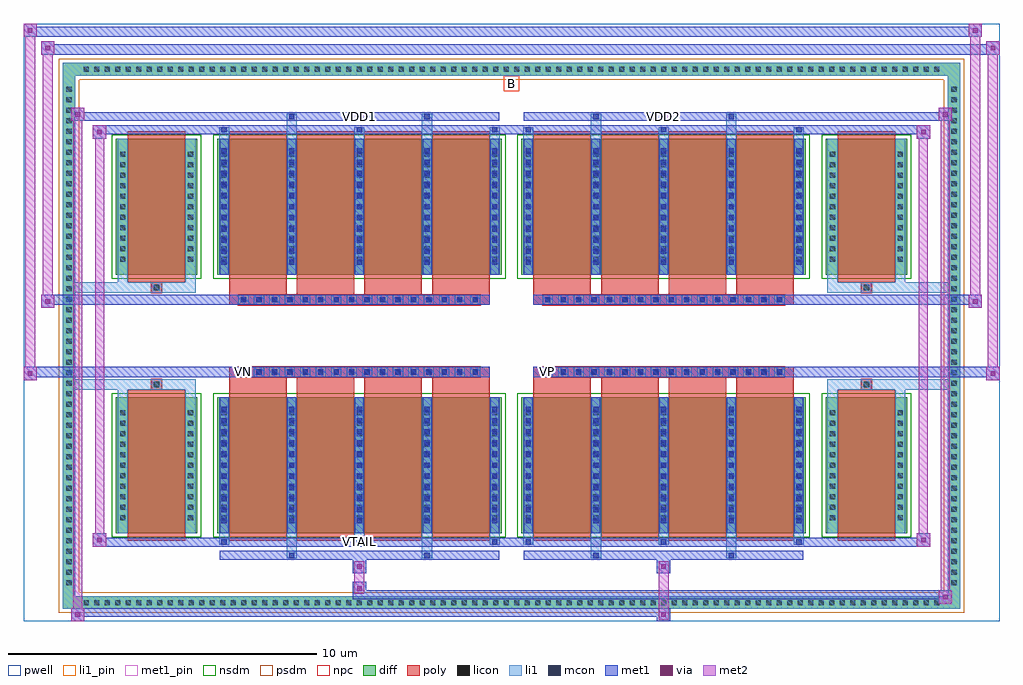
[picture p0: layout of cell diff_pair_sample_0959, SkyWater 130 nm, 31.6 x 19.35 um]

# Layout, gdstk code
import gdstk
lib = gdstk.Library(unit=1e-6, precision=5e-09)
def R(c, l, rs):  # rectangles x0, y0, x1, y1
    for r in rs: c.add(gdstk.rectangle(r[:2], r[2:], *l))
def A(c, l, x, y, w, h, nx, ny, dx, dy):  # array of equal rectangles
    R(c, l, [(x+i*dx, y+j*dy, x+i*dx+w, y+j*dy+h) for i in range(nx) for j in range(ny)])
def P(c, l, *ps):  # polygons
    for p in ps: c.add(gdstk.Polygon(p, *l))
pwell = (64, 44)
diff = (65, 20)
poly = (66, 20)
licon = (66, 44)
li1_pin = (67, 16)
li1 = (67, 20)
mcon = (67, 44)
met1_pin = (68, 16)
met1 = (68, 20)
via = (68, 44)
met2 = (69, 20)
nsdm = (93, 44)
psdm = (94, 20)
npc = (95, 20)

diff_pair_sample_0959 = lib.new_cell('diff_pair_sample_0959')
R(diff_pair_sample_0959, pwell, [(-15.8,-9.24,15.8,10.11), (-13.12,-7.43,-0.01,-0.805), (0.01,-7.43,13.12,-0.805), (-13.12,0.805,-0.01,7.43), (0.01,0.805,13.12,7.43)])
A(diff_pair_sample_0959, diff, -13.975, -8.84, 0.41, 0.41, 82, 2, 0.34, 17.27)
A(diff_pair_sample_0959, diff, -14.53, -8.195, 0.41, 0.41, 1, 48, 0, 0.34)
A(diff_pair_sample_0959, diff, 14.12, -8.195, 0.41, 0.41, 1, 48, 0, 0.34)
R(diff_pair_sample_0959, diff, [(-13.975,-8.84,13.975,-8.43), (-14.53,-8.195,-14.12,8.195), (14.12,-8.195,14.53,8.195), (-12.81,-6.385,-10.17,-1.985), (-9.53,-6.385,-0.32,-1.985), (0.32,-6.385,9.53,-1.985), (10.17,-6.385,12.81,-1.985), (-12.81,1.985,-10.17,6.385), (-9.53,1.985,-0.32,6.385), (0.32,1.985,9.53,6.385), (10.17,1.985,12.81,6.385), (-13.975,8.43,13.975,8.84)])
P(diff_pair_sample_0959, diff, [(14.53,8.84),(-14.53,8.84),(-14.53,-8.43),(-14.12,-8.43),(-14.12,8.43),(14.12,8.43),(14.12,-8.43),(-14.12,-8.43),(-14.53,-8.43),(-14.53,-8.84),(14.53,-8.84)])
A(diff_pair_sample_0959, poly, -9.14, -6.635, 1.86, 4.9, 4, 2, 2.19, 8.37)
A(diff_pair_sample_0959, poly, 0.71, -6.635, 1.86, 4.9, 4, 2, 2.19, 8.37)
A(diff_pair_sample_0959, poly, -9.14, -1.735, 1.86, 0.4, 4, 2, 2.19, 3.07)
A(diff_pair_sample_0959, poly, 0.71, -1.735, 1.86, 0.4, 4, 2, 2.19, 3.07)
A(diff_pair_sample_0959, poly, -8.84, -1.335, 0.33, 0.33, 16, 2, 0.5, 2.34)
A(diff_pair_sample_0959, poly, 1.01, -1.335, 0.33, 0.33, 16, 2, 0.5, 2.34)
R(diff_pair_sample_0959, poly, [(-12.42,-6.635,-10.56,-1.735), (10.56,-6.635,12.42,-1.735), (-11.655,-1.735,-11.325,-1.405), (-11.655,-1.735,-11.325,-1.405), (11.325,-1.735,11.655,-1.405), (11.325,-1.735,11.655,-1.405), (-9.14,-1.335,-0.71,-1.005), (0.71,-1.335,9.14,-1.005), (-9.14,1.005,-0.71,1.335), (0.71,1.005,9.14,1.335), (-11.655,1.405,-11.325,1.735), (-11.655,1.405,-11.325,1.735), (11.325,1.405,11.655,1.735), (11.325,1.405,11.655,1.735), (-12.42,1.735,-10.56,6.635), (10.56,1.735,12.42,6.635)])
A(diff_pair_sample_0959, licon, -13.855, -8.72, 0.17, 0.17, 82, 2, 0.34, 17.27)
A(diff_pair_sample_0959, licon, -14.41, -8.075, 0.17, 0.17, 1, 48, 0, 0.34)
A(diff_pair_sample_0959, licon, 14.24, -8.075, 0.17, 0.17, 1, 48, 0, 0.34)
A(diff_pair_sample_0959, licon, -12.67, -5.97, 0.17, 0.17, 1, 11, 0, 0.34)
A(diff_pair_sample_0959, licon, -10.48, -5.97, 0.17, 0.17, 1, 11, 0, 0.34)
A(diff_pair_sample_0959, licon, -9.39, -5.97, 0.17, 0.17, 5, 11, 2.19, 0.34)
A(diff_pair_sample_0959, licon, 0.46, -5.97, 0.17, 0.17, 5, 11, 2.19, 0.34)
A(diff_pair_sample_0959, licon, 10.31, -5.97, 0.17, 0.17, 1, 11, 0, 0.34)
A(diff_pair_sample_0959, licon, 12.5, -5.97, 0.17, 0.17, 1, 11, 0, 0.34)
A(diff_pair_sample_0959, licon, -8.76, -1.255, 0.17, 0.17, 16, 2, 0.5, 2.34)
A(diff_pair_sample_0959, licon, 1.09, -1.255, 0.17, 0.17, 16, 2, 0.5, 2.34)
A(diff_pair_sample_0959, licon, -12.67, 2.4, 0.17, 0.17, 1, 11, 0, 0.34)
A(diff_pair_sample_0959, licon, -10.48, 2.4, 0.17, 0.17, 1, 11, 0, 0.34)
A(diff_pair_sample_0959, licon, -9.39, 2.4, 0.17, 0.17, 5, 11, 2.19, 0.34)
A(diff_pair_sample_0959, licon, 0.46, 2.4, 0.17, 0.17, 5, 11, 2.19, 0.34)
A(diff_pair_sample_0959, licon, 10.31, 2.4, 0.17, 0.17, 1, 11, 0, 0.34)
A(diff_pair_sample_0959, licon, 12.5, 2.4, 0.17, 0.17, 1, 11, 0, 0.34)
R(diff_pair_sample_0959, licon, [(-11.575,-1.655,-11.405,-1.485), (11.405,-1.655,11.575,-1.485), (-11.575,1.485,-11.405,1.655), (11.405,1.485,11.575,1.655)])
R(diff_pair_sample_0959, li1_pin, [(-0.25,7.93,0.25,8.43)])
A(diff_pair_sample_0959, li1, -13.935, -8.8, 0.33, 0.33, 82, 2, 0.34, 17.27)
A(diff_pair_sample_0959, li1, -14.49, -8.155, 0.33, 0.33, 1, 48, 0, 0.34)
A(diff_pair_sample_0959, li1, 14.16, -8.155, 0.33, 0.33, 1, 48, 0, 0.34)
A(diff_pair_sample_0959, li1, -9.47, -6.76, 0.33, 0.375, 3, 2, 4.38, 13.145)
A(diff_pair_sample_0959, li1, -9.39, -6.76, 0.17, 0.17, 3, 2, 4.38, 13.35)
A(diff_pair_sample_0959, li1, 0.38, -6.76, 0.33, 0.375, 3, 2, 4.38, 13.145)
A(diff_pair_sample_0959, li1, 0.46, -6.76, 0.17, 0.17, 3, 2, 4.38, 13.35)
A(diff_pair_sample_0959, li1, -9.47, -6.385, 0.33, 4.4, 5, 2, 2.19, 8.37)
A(diff_pair_sample_0959, li1, 0.38, -6.385, 0.33, 4.4, 5, 2, 2.19, 8.37)
A(diff_pair_sample_0959, li1, -9.39, -6.07, 0.17, 0.17, 5, 11, 2.19, 0.36)
A(diff_pair_sample_0959, li1, -9.39, -6.07, 0.17, 3.77, 5, 2, 2.19, 8.37)
A(diff_pair_sample_0959, li1, 0.46, -6.07, 0.17, 0.17, 5, 11, 2.19, 0.36)
A(diff_pair_sample_0959, li1, 0.46, -6.07, 0.17, 3.77, 5, 2, 2.19, 8.37)
A(diff_pair_sample_0959, li1, -12.75, -6.05, 0.33, 0.33, 1, 11, 0, 0.34)
A(diff_pair_sample_0959, li1, -10.56, -6.05, 0.33, 0.33, 1, 11, 0, 0.34)
A(diff_pair_sample_0959, li1, -9.47, -6.05, 0.33, 0.33, 5, 11, 2.19, 0.34)
A(diff_pair_sample_0959, li1, 0.38, -6.05, 0.33, 0.33, 5, 11, 2.19, 0.34)
A(diff_pair_sample_0959, li1, 10.23, -6.05, 0.33, 0.33, 1, 11, 0, 0.34)
A(diff_pair_sample_0959, li1, 12.42, -6.05, 0.33, 0.33, 1, 11, 0, 0.34)
A(diff_pair_sample_0959, li1, -8.84, -1.335, 0.33, 0.33, 16, 2, 0.5, 2.34)
A(diff_pair_sample_0959, li1, 1.01, -1.335, 0.33, 0.33, 16, 2, 0.5, 2.34)
A(diff_pair_sample_0959, li1, -9.39, 2.3, 0.17, 0.17, 5, 11, 2.19, 0.36)
A(diff_pair_sample_0959, li1, 0.46, 2.3, 0.17, 0.17, 5, 11, 2.19, 0.36)
A(diff_pair_sample_0959, li1, -12.75, 2.32, 0.33, 0.33, 1, 11, 0, 0.34)
A(diff_pair_sample_0959, li1, -10.56, 2.32, 0.33, 0.33, 1, 11, 0, 0.34)
A(diff_pair_sample_0959, li1, -9.47, 2.32, 0.33, 0.33, 5, 11, 2.19, 0.34)
A(diff_pair_sample_0959, li1, 0.38, 2.32, 0.33, 0.33, 5, 11, 2.19, 0.34)
A(diff_pair_sample_0959, li1, 10.23, 2.32, 0.33, 0.33, 1, 11, 0, 0.34)
A(diff_pair_sample_0959, li1, 12.42, 2.32, 0.33, 0.33, 1, 11, 0, 0.34)
R(diff_pair_sample_0959, li1, [(-14.53,-8.84,-14.12,-8.43), (-14.53,-8.84,-14.12,-8.43), (-14.12,-8.84,14.12,-8.43), (14.12,-8.84,14.53,-8.43), (14.12,-8.84,14.53,-8.43), (-14.53,-8.43,-14.12,8.43), (14.12,-8.43,14.53,8.43), (-7.28,-7.19,-6.95,-6.385), (-7.2,-7.19,-7.03,-7.02), (-2.9,-7.19,-2.57,-6.385), (-2.82,-7.19,-2.65,-7.02), (2.57,-7.19,2.9,-6.385), (2.65,-7.19,2.82,-7.02), (6.95,-7.19,7.28,-6.385), (7.03,-7.19,7.2,-7.02), (-12.75,-6.385,-12.42,-1.985), (-10.56,-6.385,-10.23,-1.985), (10.23,-6.385,10.56,-1.985), (12.42,-6.385,12.75,-1.985), (-12.75,-1.985,-12.42,-1.405), (-10.56,-1.985,-10.23,-1.405), (10.23,-1.985,10.56,-1.405), (12.42,-1.985,12.75,-1.405), (-14.53,-1.735,-11.655,-1.405), (-12.75,-1.735,-11.655,-1.405), (-11.655,-1.735,-11.325,-1.405), (-11.325,-1.735,-10.23,-1.405), (10.23,-1.735,11.325,-1.405), (11.325,-1.735,11.655,-1.405), (11.325,-1.735,14.53,-1.405), (11.655,-1.735,12.75,-1.405), (-14.53,1.405,-11.655,1.735), (-12.75,1.405,-11.655,1.735), (-12.75,1.405,-12.42,1.985), (-11.655,1.405,-11.325,1.735), (-11.325,1.405,-10.23,1.735), (-10.56,1.405,-10.23,1.985), (10.23,1.405,11.325,1.735), (10.23,1.405,10.56,1.985), (11.325,1.405,11.655,1.735), (11.325,1.405,14.53,1.735), (11.655,1.405,12.75,1.735), (12.42,1.405,12.75,1.985), (-12.75,1.985,-12.42,6.385), (-10.56,1.985,-10.23,6.385), (10.23,1.985,10.56,6.385), (12.42,1.985,12.75,6.385), (-7.28,6.385,-6.95,7.19), (-2.9,6.385,-2.57,7.19), (2.57,6.385,2.9,7.19), (6.95,6.385,7.28,7.19), (-7.2,7.02,-7.03,7.19), (-2.82,7.02,-2.65,7.19), (2.65,7.02,2.82,7.19), (7.03,7.02,7.2,7.19), (-14.53,8.43,-14.12,8.84), (-14.53,8.43,-14.12,8.84), (-14.12,8.43,14.12,8.84), (14.12,8.43,14.53,8.84), (14.12,8.43,14.53,8.84)])
A(diff_pair_sample_0959, mcon, -9.39, -6.76, 0.17, 0.17, 3, 2, 4.38, 13.35)
A(diff_pair_sample_0959, mcon, 0.46, -6.76, 0.17, 0.17, 3, 2, 4.38, 13.35)
A(diff_pair_sample_0959, mcon, -9.39, -6.07, 0.17, 0.17, 5, 11, 2.19, 0.36)
A(diff_pair_sample_0959, mcon, 0.46, -6.07, 0.17, 0.17, 5, 11, 2.19, 0.36)
A(diff_pair_sample_0959, mcon, -8.76, -1.255, 0.17, 0.17, 16, 2, 0.5, 2.34)
A(diff_pair_sample_0959, mcon, 1.09, -1.255, 0.17, 0.17, 16, 2, 0.5, 2.34)
A(diff_pair_sample_0959, mcon, -9.39, 2.3, 0.17, 0.17, 5, 11, 2.19, 0.36)
A(diff_pair_sample_0959, mcon, 0.46, 2.3, 0.17, 0.17, 5, 11, 2.19, 0.36)
R(diff_pair_sample_0959, mcon, [(-7.2,-7.19,-7.03,-7.02), (-2.82,-7.19,-2.65,-7.02), (2.65,-7.19,2.82,-7.02), (7.03,-7.19,7.2,-7.02), (-7.2,7.02,-7.03,7.19), (-2.82,7.02,-2.65,7.19), (2.65,7.02,2.82,7.19), (7.03,7.02,7.2,7.19)])
R(diff_pair_sample_0959, met1_pin, [(-5.06,-6.8,-4.79,-6.53), (-8.81,-1.295,-8.54,-1.025), (1.04,-1.295,1.31,-1.025), (-5.06,6.98,-4.79,7.25), (4.79,6.98,5.06,7.25)])
A(diff_pair_sample_0959, met1, -9.45, -6.82, 0.29, 0.29, 3, 2, 4.38, 13.35)
A(diff_pair_sample_0959, met1, 0.4, -6.82, 0.29, 0.29, 3, 2, 4.38, 13.35)
A(diff_pair_sample_0959, met1, -9.45, -6.385, 0.29, 4.4, 5, 2, 2.19, 8.37)
A(diff_pair_sample_0959, met1, 0.4, -6.385, 0.29, 4.4, 5, 2, 2.19, 8.37)
A(diff_pair_sample_0959, met1, -9.45, -6.13, 0.29, 0.29, 5, 11, 2.19, 0.36)
A(diff_pair_sample_0959, met1, 0.4, -6.13, 0.29, 0.29, 5, 11, 2.19, 0.36)
A(diff_pair_sample_0959, met1, -8.82, -1.315, 0.29, 0.29, 16, 2, 0.5, 2.34)
A(diff_pair_sample_0959, met1, 1.03, -1.315, 0.29, 0.29, 16, 2, 0.5, 2.34)
A(diff_pair_sample_0959, met1, -9.45, 2.24, 0.29, 0.29, 5, 11, 2.19, 0.36)
A(diff_pair_sample_0959, met1, 0.4, 2.24, 0.29, 0.29, 5, 11, 2.19, 0.36)
R(diff_pair_sample_0959, met1, [(-14.26,-9.24,-13.83,-8.81), (4.71,-9.24,5.14,-8.81), (-14.26,-9.1,5.14,-8.81), (13.83,-8.67,14.26,-8.24), (-5.14,-8.53,14.26,-8.24), (-5.14,-8.39,-4.71,-7.96), (-5.14,-7.68,-4.71,-7.25), (4.71,-7.68,5.14,-7.25), (-9.45,-7.25,-0.4,-6.96), (-7.26,-7.25,-6.97,-6.96), (-2.88,-7.25,-2.59,-6.96), (0.4,-7.25,9.45,-6.96), (2.59,-7.25,2.88,-6.96), (6.97,-7.25,7.26,-6.96), (-13.55,-6.82,-13.12,-6.39), (-13.55,-6.82,-9.45,-6.53), (-9.45,-6.82,-0.4,-6.53), (-0.4,-6.82,0.4,-6.53), (0.4,-6.82,9.45,-6.53), (9.45,-6.82,13.55,-6.53), (13.12,-6.82,13.55,-6.39), (-15.8,-1.435,-15.37,-1.005), (15.37,-1.435,15.8,-1.005), (-15.8,-1.335,-0.71,-1.005), (-9.14,-1.335,-0.71,-1.005), (0.71,-1.335,9.14,-1.005), (0.71,-1.335,15.8,-1.005), (-15.23,0.905,-14.8,1.335), (14.8,0.905,15.23,1.335), (-15.23,1.005,-9.14,1.335), (-9.14,1.005,-0.71,1.335), (0.71,1.005,9.14,1.335), (9.14,1.005,15.23,1.335), (-13.55,6.39,-13.12,6.82), (13.12,6.39,13.55,6.82), (-13.55,6.53,-9.45,6.82), (-9.45,6.53,-0.4,6.82), (-0.4,6.53,0.4,6.82), (0.4,6.53,9.45,6.82), (9.45,6.53,13.55,6.82), (-14.26,6.96,-13.83,7.39), (-14.26,6.96,-9.45,7.25), (-9.45,6.96,-0.4,7.25), (-7.26,6.96,-6.97,7.25), (-2.88,6.96,-2.59,7.25), (0.4,6.96,9.45,7.25), (2.59,6.96,2.88,7.25), (6.97,6.96,7.26,7.25), (9.45,6.96,14.26,7.25), (13.83,6.96,14.26,7.39), (-15.23,9.11,-14.8,9.54), (-15.23,9.11,-13.12,9.44), (-13.12,9.11,13.12,9.44), (13.12,9.11,15.8,9.44), (15.37,9.11,15.8,9.54), (-15.8,9.68,-15.37,10.11), (-15.8,9.68,-13.12,10.01), (-13.12,9.68,13.12,10.01), (13.12,9.68,15.23,10.01), (14.8,9.68,15.23,10.11)])
R(diff_pair_sample_0959, via, [(-14.12,-9.1,-13.97,-8.95), (4.85,-9.1,5,-8.95), (13.97,-8.53,14.12,-8.38), (-5,-8.25,-4.85,-8.1), (-5,-7.54,-4.85,-7.39), (4.85,-7.54,5,-7.39), (-13.41,-6.68,-13.26,-6.53), (13.26,-6.68,13.41,-6.53), (-15.66,-1.295,-15.51,-1.145), (15.51,-1.295,15.66,-1.145), (-15.09,1.045,-14.94,1.195), (14.94,1.045,15.09,1.195), (-13.41,6.53,-13.26,6.68), (13.26,6.53,13.41,6.68), (-14.12,7.1,-13.97,7.25), (13.97,7.1,14.12,7.25), (-15.09,9.25,-14.94,9.4), (15.51,9.25,15.66,9.4), (-15.66,9.82,-15.51,9.97), (14.94,9.82,15.09,9.97)])
R(diff_pair_sample_0959, met2, [(-14.26,-9.24,-13.83,-8.81), (-14.19,-9.24,-13.9,7.39), (-13.9,-9.24,-13.83,-8.81), (-14.21,-9.19,-13.88,-8.86), (4.76,-9.19,5.09,-8.86), (4.76,-8.86,5.09,-7.63), (13.83,-8.67,14.26,-8.24), (13.9,-8.67,14.19,7.39), (14.19,-8.67,14.26,-8.24), (13.88,-8.62,14.21,-8.29), (-5.09,-8.34,-4.76,-8.01), (-5.09,-8.01,-4.76,-7.63), (-5.09,-7.63,-4.76,-7.3), (4.76,-7.63,5.09,-7.3), (-13.55,-6.82,-13.12,-6.39), (-13.48,-6.82,-13.19,6.82), (-13.19,-6.82,-13.12,-6.39), (13.12,-6.82,13.55,-6.39), (13.19,-6.82,13.48,6.82), (13.48,-6.82,13.55,-6.39), (-13.5,-6.77,-13.17,-6.44), (13.17,-6.77,13.5,-6.44), (-15.8,-1.435,-15.37,-1.005), (-15.75,-1.435,-15.42,10.11), (-15.42,-1.435,-15.37,-1.005), (15.37,-1.435,15.8,-1.005), (15.42,-1.435,15.75,9.54), (15.75,-1.435,15.8,-1.005), (-15.75,-1.385,-15.42,-1.055), (15.42,-1.385,15.75,-1.055), (-15.23,0.905,-14.8,1.335), (-15.18,0.905,-14.85,9.54), (-14.85,0.905,-14.8,1.335), (14.8,0.905,15.23,1.335), (14.85,0.905,15.18,10.11), (15.18,0.905,15.23,1.335), (-15.18,0.955,-14.85,1.285), (14.85,0.955,15.18,1.285), (-13.55,6.39,-13.12,6.82), (-13.19,6.39,-13.12,6.82), (13.12,6.39,13.55,6.82), (13.48,6.39,13.55,6.82), (-13.5,6.44,-13.17,6.77), (13.17,6.44,13.5,6.77), (-14.26,6.96,-13.83,7.39), (-13.9,6.96,-13.83,7.39), (13.83,6.96,14.26,7.39), (14.19,6.96,14.26,7.39), (-14.21,7.01,-13.88,7.34), (13.88,7.01,14.21,7.34), (-15.23,9.11,-14.8,9.54), (-14.85,9.11,-14.8,9.54), (15.37,9.11,15.8,9.54), (15.75,9.11,15.8,9.54), (-15.18,9.16,-14.85,9.49), (15.42,9.16,15.75,9.49), (-15.8,9.68,-15.37,10.11), (-15.42,9.68,-15.37,10.11), (14.8,9.68,15.23,10.11), (15.18,9.68,15.23,10.11), (-15.75,9.73,-15.42,10.06), (14.85,9.73,15.18,10.06)])
R(diff_pair_sample_0959, nsdm, [(-12.94,-6.515,-10.04,-1.855), (-9.66,-6.515,-0.19,-1.855), (0.19,-6.515,9.66,-1.855), (10.04,-6.515,12.94,-1.855), (-12.94,1.855,-10.04,6.515), (-9.66,1.855,-0.19,6.515), (0.19,1.855,9.66,6.515), (10.04,1.855,12.94,6.515)])
P(diff_pair_sample_0959, psdm, [(14.66,8.97),(-14.66,8.97),(-14.66,-8.3),(-13.99,-8.3),(-13.99,8.3),(13.99,8.3),(13.99,-8.3),(-13.99,-8.3),(-14.66,-8.3),(-14.66,-8.97),(14.66,-8.97)])
A(diff_pair_sample_0959, npc, -8.86, -1.355, 0.37, 0.37, 16, 2, 0.5, 2.34)
A(diff_pair_sample_0959, npc, 0.99, -1.355, 0.37, 0.37, 16, 2, 0.5, 2.34)
R(diff_pair_sample_0959, npc, [(-11.675,-1.755,-11.305,-1.385), (11.305,-1.755,11.675,-1.385), (-8.86,-1.355,-7.99,-0.985), (-8.86,-1.355,-7.99,-0.985), (-8.36,-1.355,-7.49,-0.985), (-8.36,-1.355,-7.49,-0.985), (-7.86,-1.355,-6.99,-0.985), (-7.86,-1.355,-6.99,-0.985), (-7.36,-1.355,-6.49,-0.985), (-7.36,-1.355,-6.49,-0.985), (-6.86,-1.355,-5.99,-0.985), (-6.86,-1.355,-5.99,-0.985), (-6.36,-1.355,-5.49,-0.985), (-6.36,-1.355,-5.49,-0.985), (-5.86,-1.355,-4.99,-0.985), (-5.86,-1.355,-4.99,-0.985), (-5.36,-1.355,-4.49,-0.985), (-5.36,-1.355,-4.49,-0.985), (-4.86,-1.355,-3.99,-0.985), (-4.86,-1.355,-3.99,-0.985), (-4.36,-1.355,-3.49,-0.985), (-4.36,-1.355,-3.49,-0.985), (-3.86,-1.355,-2.99,-0.985), (-3.86,-1.355,-2.99,-0.985), (-3.36,-1.355,-2.49,-0.985), (-3.36,-1.355,-2.49,-0.985), (-2.86,-1.355,-1.99,-0.985), (-2.86,-1.355,-1.99,-0.985), (-2.36,-1.355,-1.49,-0.985), (-2.36,-1.355,-1.49,-0.985), (-1.86,-1.355,-0.99,-0.985), (-1.86,-1.355,-0.99,-0.985), (0.99,-1.355,1.86,-0.985), (0.99,-1.355,1.86,-0.985), (1.49,-1.355,2.36,-0.985), (1.49,-1.355,2.36,-0.985), (1.99,-1.355,2.86,-0.985), (1.99,-1.355,2.86,-0.985), (2.49,-1.355,3.36,-0.985), (2.49,-1.355,3.36,-0.985), (2.99,-1.355,3.86,-0.985), (2.99,-1.355,3.86,-0.985), (3.49,-1.355,4.36,-0.985), (3.49,-1.355,4.36,-0.985), (3.99,-1.355,4.86,-0.985), (3.99,-1.355,4.86,-0.985), (4.49,-1.355,5.36,-0.985), (4.49,-1.355,5.36,-0.985), (4.99,-1.355,5.86,-0.985), (4.99,-1.355,5.86,-0.985), (5.49,-1.355,6.36,-0.985), (5.49,-1.355,6.36,-0.985), (5.99,-1.355,6.86,-0.985), (5.99,-1.355,6.86,-0.985), (6.49,-1.355,7.36,-0.985), (6.49,-1.355,7.36,-0.985), (6.99,-1.355,7.86,-0.985), (6.99,-1.355,7.86,-0.985), (7.49,-1.355,8.36,-0.985), (7.49,-1.355,8.36,-0.985), (7.99,-1.355,8.86,-0.985), (7.99,-1.355,8.86,-0.985), (-8.86,0.985,-7.99,1.355), (-8.86,0.985,-7.99,1.355), (-8.36,0.985,-7.49,1.355), (-8.36,0.985,-7.49,1.355), (-7.86,0.985,-6.99,1.355), (-7.86,0.985,-6.99,1.355), (-7.36,0.985,-6.49,1.355), (-7.36,0.985,-6.49,1.355), (-6.86,0.985,-5.99,1.355), (-6.86,0.985,-5.99,1.355), (-6.36,0.985,-5.49,1.355), (-6.36,0.985,-5.49,1.355), (-5.86,0.985,-4.99,1.355), (-5.86,0.985,-4.99,1.355), (-5.36,0.985,-4.49,1.355), (-5.36,0.985,-4.49,1.355), (-4.86,0.985,-3.99,1.355), (-4.86,0.985,-3.99,1.355), (-4.36,0.985,-3.49,1.355), (-4.36,0.985,-3.49,1.355), (-3.86,0.985,-2.99,1.355), (-3.86,0.985,-2.99,1.355), (-3.36,0.985,-2.49,1.355), (-3.36,0.985,-2.49,1.355), (-2.86,0.985,-1.99,1.355), (-2.86,0.985,-1.99,1.355), (-2.36,0.985,-1.49,1.355), (-2.36,0.985,-1.49,1.355), (-1.86,0.985,-0.99,1.355), (-1.86,0.985,-0.99,1.355), (0.99,0.985,1.86,1.355), (0.99,0.985,1.86,1.355), (1.49,0.985,2.36,1.355), (1.49,0.985,2.36,1.355), (1.99,0.985,2.86,1.355), (1.99,0.985,2.86,1.355), (2.49,0.985,3.36,1.355), (2.49,0.985,3.36,1.355), (2.99,0.985,3.86,1.355), (2.99,0.985,3.86,1.355), (3.49,0.985,4.36,1.355), (3.49,0.985,4.36,1.355), (3.99,0.985,4.86,1.355), (3.99,0.985,4.86,1.355), (4.49,0.985,5.36,1.355), (4.49,0.985,5.36,1.355), (4.99,0.985,5.86,1.355), (4.99,0.985,5.86,1.355), (5.49,0.985,6.36,1.355), (5.49,0.985,6.36,1.355), (5.99,0.985,6.86,1.355), (5.99,0.985,6.86,1.355), (6.49,0.985,7.36,1.355), (6.49,0.985,7.36,1.355), (6.99,0.985,7.86,1.355), (6.99,0.985,7.86,1.355), (7.49,0.985,8.36,1.355), (7.49,0.985,8.36,1.355), (7.99,0.985,8.86,1.355), (7.99,0.985,8.86,1.355), (-11.675,1.385,-11.305,1.755), (11.305,1.385,11.675,1.755)])
diff_pair_sample_0959.add(gdstk.Label('VTAIL', (-4.925,-6.665), layer=68, texttype=5))
diff_pair_sample_0959.add(gdstk.Label('VN', (-8.675,-1.16), layer=68, texttype=5))
diff_pair_sample_0959.add(gdstk.Label('VP', (1.175,-1.16), layer=68, texttype=5))
diff_pair_sample_0959.add(gdstk.Label('B', (0,8.18), layer=67, texttype=5))
diff_pair_sample_0959.add(gdstk.Label('VDD2', (4.925,7.115), layer=68, texttype=5))
diff_pair_sample_0959.add(gdstk.Label('VDD1', (-4.925,7.115), layer=68, texttype=5))

lib.write_gds('diff_pair_sample_0959.gds')
